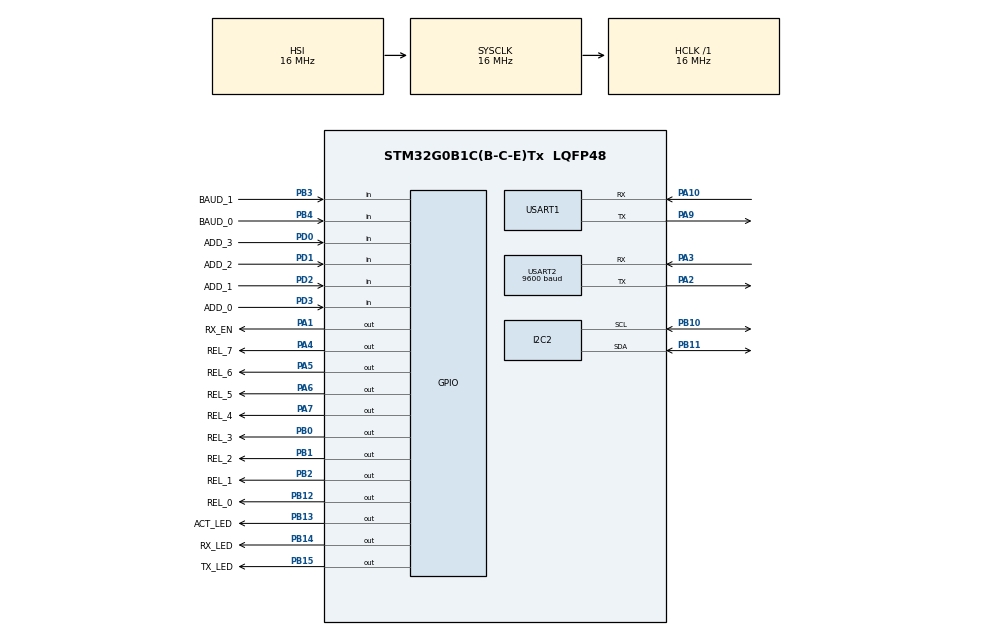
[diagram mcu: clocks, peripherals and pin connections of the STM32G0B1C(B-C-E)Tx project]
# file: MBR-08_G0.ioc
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I2C2.Timing=0x00503D58
IWDG.Prescaler=IWDG_PRESCALER_256
IWDG.Reload=312
Mcu.Family=STM32G0
Mcu.Name=STM32G0B1C(B-C-E)Tx
Mcu.Package=LQFP48
NVIC.TIM2_IRQn=true\:0\:0\:false\:false\:true\:true\:true\:true
NVIC.USART2_LPUART2_IRQn=true\:0\:0\:false\:false\:true\:true\:true\:true
PA1.GPIO_Label=RX_EN
PA1.Signal=GPIO_Output
PA10\ [PA12].Mode=Asynchronous
PA10\ [PA12].Signal=USART1_RX
PA13.Mode=Serial_Wire
PA13.Signal=SYS_SWDIO
PA14-BOOT0.Mode=Serial_Wire
PA14-BOOT0.Signal=SYS_SWCLK
PA2.Mode=Asynchronous
PA2.Signal=USART2_TX
PA3.Mode=Asynchronous
PA3.Signal=USART2_RX
PA4.GPIO_Label=REL_7
PA4.Signal=GPIO_Output
PA5.GPIO_Label=REL_6
PA5.Signal=GPIO_Output
PA6.GPIO_Label=REL_5
PA6.Signal=GPIO_Output
PA7.GPIO_Label=REL_4
PA7.Signal=GPIO_Output
PA9\ [PA11].Mode=Asynchronous
PA9\ [PA11].Signal=USART1_TX
PB0.GPIO_Label=REL_3
PB0.Signal=GPIO_Output
PB1.GPIO_Label=REL_2
PB1.Signal=GPIO_Output
PB10.Mode=I2C
PB10.Signal=I2C2_SCL
PB11.Mode=I2C
PB11.Signal=I2C2_SDA
PB12.GPIO_Label=REL_0
PB12.Signal=GPIO_Output
PB13.GPIO_Label=ACT_LED
PB13.Signal=GPIO_Output
PB14.GPIO_Label=RX_LED
PB14.Signal=GPIO_Output
PB15.GPIO_Label=TX_LED
PB15.Signal=GPIO_Output
PB2.GPIO_Label=REL_1
PB2.Signal=GPIO_Output
PB3.GPIO_Label=BAUD_1
PB3.Signal=GPIO_Input
PB4.GPIO_Label=BAUD_0
PB4.Signal=GPIO_Input
PD0.GPIO_Label=ADD_3
PD0.Signal=GPIO_Input
PD1.GPIO_Label=ADD_2
PD1.Signal=GPIO_Input
PD2.GPIO_Label=ADD_1
PD2.Signal=GPIO_Input
PD3.GPIO_Label=ADD_0
PD3.Signal=GPIO_Input
ProjectManager.HeapSize=0x200
ProjectManager.StackSize=0x400
ProjectManager.TargetToolchain=STM32CubeIDE
RCC.AHBFreq_Value=16000000
RCC.CortexFreq_Value=16000000
RCC.EXTERNAL_CLOCK_VALUE=48000
RCC.HCLKFreq_Value=16000000
RCC.HSE_VALUE=12000000
RCC.HSI48_VALUE=48000000
RCC.HSI_VALUE=16000000
RCC.LSE_VALUE=32768
RCC.SYSCLKFreq_VALUE=16000000
RCC.USBFreq_Value=48000000
RCC.VCOOutputFreq_Value=128000000
USART1.VirtualMode-Asynchronous=VM_ASYNC
USART2.BaudRate=9600
USART2.VirtualMode-Asynchronous=VM_ASYNC
VP_IWDG_VS_IWDG.Mode=IWDG_Activate
VP_SYS_VS_DBSignals.Mode=DisableDeadBatterySignals
VP_SYS_VS_PINREMAP.Mode=PINREMAP
VP_SYS_VS_PINREMAP_10_12.Mode=PINREMAP_10_12
VP_TIM2_VS_ClockSourceINT.Mode=Internal
board=custom

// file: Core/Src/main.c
/* USER CODE BEGIN Header */
/**
  ******************************************************************************
  * @file           : main.c
  * @brief          : Main program body
  ******************************************************************************
  * @attention
  *
  * Copyright (c) 2026 STMicroelectronics.
  * All rights reserved.
  *
  * This software is licensed under terms that can be found in the LICENSE file
  * in the root directory of this software component.
  * If no LICENSE file comes with this software, it is provided AS-IS.
  *
  ******************************************************************************
  */
/* USER CODE END Header */
#include "main.h"

/* USER CODE BEGIN Includes */
#include <stdbool.h>
#include "scheduler.h"
#include "modbus_slave.h"
/* USER CODE END Includes */

I2C_HandleTypeDef hi2c2;

IWDG_HandleTypeDef hiwdg;

TIM_HandleTypeDef htim2;

UART_HandleTypeDef huart1;
UART_HandleTypeDef huart2;

/* USER CODE BEGIN PV */

/* struct that holds all relay control registers */
extern Regs_t regsRelCon;

/* flag to indicate new data reception */
bool bNewData = true;
/* USER CODE END PV */

void SystemClock_Config(void);
static void MX_GPIO_Init(void);
static void MX_I2C2_Init(void);
static void MX_USART1_UART_Init(void);
static void MX_USART2_UART_Init(void);
static void MX_IWDG_Init(void);
static void MX_TIM2_Init(void);
/* USER CODE BEGIN PFP */

static void Task_RelayUpdate(void);
static void Task_ActLED(void);
/* USER CODE END PFP */

int main(void)
{

  /* MCU Configuration--------------------------------------------------------*/

  /* Reset of all peripherals, Initializes the Flash interface and the Systick. */
  HAL_Init();

  /* Configure the system clock */
  SystemClock_Config();

  /* Initialize all configured peripherals */
  MX_GPIO_Init();
  MX_I2C2_Init();
  MX_USART1_UART_Init();
  MX_USART2_UART_Init();
  MX_IWDG_Init();
  MX_TIM2_Init();
  /* USER CODE BEGIN 2 */
  Scheduler_Init();
  Modbus_Init();

  /* Turn TX led off */
  HAL_GPIO_WritePin(TX_LED_GPIO_Port, TX_LED_Pin, GPIO_PIN_SET);

  /* Turn RX led off */
  HAL_GPIO_WritePin(RX_LED_GPIO_Port, RX_LED_Pin, GPIO_PIN_SET);

  /* Note: Modbus has no tasks in the scheduler because it's all run through interrupts */
  Scheduler_AddTask(Task_RelayUpdate,     5U,   50U);  /* every 5ms,  stuck if >50ms  */
  Scheduler_AddTask(Task_ActLED,  500U,    0U);  /* every 500ms, not wdog-guarded */

  uint8_t msg[] = "Start scheduler\r\n";
  HAL_UART_Transmit(&huart1, msg, sizeof(msg) - 1, HAL_MAX_DELAY);
  /* USER CODE END 2 */

  /* Infinite loop */
  /* USER CODE BEGIN WHILE */
  while (1)
  {
	  Scheduler_Run();
    /* USER CODE END WHILE */

  }
}

void SystemClock_Config(void)
{
  RCC_OscInitTypeDef RCC_OscInitStruct = {0};
  RCC_ClkInitTypeDef RCC_ClkInitStruct = {0};

  /** Configure the main internal regulator output voltage
  */
  HAL_PWREx_ControlVoltageScaling(PWR_REGULATOR_VOLTAGE_SCALE1);

  /** Initializes the RCC Oscillators according to the specified parameters
  * in the RCC_OscInitTypeDef structure.
  */
  RCC_OscInitStruct.OscillatorType = RCC_OSCILLATORTYPE_HSI|RCC_OSCILLATORTYPE_LSI;
  RCC_OscInitStruct.HSIState = RCC_HSI_ON;
  RCC_OscInitStruct.HSIDiv = RCC_HSI_DIV1;
  RCC_OscInitStruct.HSICalibrationValue = RCC_HSICALIBRATION_DEFAULT;
  RCC_OscInitStruct.LSIState = RCC_LSI_ON;
  RCC_OscInitStruct.PLL.PLLState = RCC_PLL_NONE;
  if (HAL_RCC_OscConfig(&RCC_OscInitStruct) != HAL_OK)
  {
    Error_Handler();
  }

  /** Initializes the CPU, AHB and APB buses clocks
  */
  RCC_ClkInitStruct.ClockType = RCC_CLOCKTYPE_HCLK|RCC_CLOCKTYPE_SYSCLK
                              |RCC_CLOCKTYPE_PCLK1;
  RCC_ClkInitStruct.SYSCLKSource = RCC_SYSCLKSOURCE_HSI;
  RCC_ClkInitStruct.AHBCLKDivider = RCC_SYSCLK_DIV1;
  RCC_ClkInitStruct.APB1CLKDivider = RCC_HCLK_DIV1;

  if (HAL_RCC_ClockConfig(&RCC_ClkInitStruct, FLASH_LATENCY_0) != HAL_OK)
  {
    Error_Handler();
  }
}

static void MX_I2C2_Init(void)
{

  hi2c2.Instance = I2C2;
  hi2c2.Init.Timing = 0x00503D58;
  hi2c2.Init.OwnAddress1 = 0;
  hi2c2.Init.AddressingMode = I2C_ADDRESSINGMODE_7BIT;
  hi2c2.Init.DualAddressMode = I2C_DUALADDRESS_DISABLE;
  hi2c2.Init.OwnAddress2 = 0;
  hi2c2.Init.OwnAddress2Masks = I2C_OA2_NOMASK;
  hi2c2.Init.GeneralCallMode = I2C_GENERALCALL_DISABLE;
  hi2c2.Init.NoStretchMode = I2C_NOSTRETCH_DISABLE;
  if (HAL_I2C_Init(&hi2c2) != HAL_OK)
  {
    Error_Handler();
  }

  /** Configure Analogue filter
  */
  if (HAL_I2CEx_ConfigAnalogFilter(&hi2c2, I2C_ANALOGFILTER_ENABLE) != HAL_OK)
  {
    Error_Handler();
  }

  /** Configure Digital filter
  */
  if (HAL_I2CEx_ConfigDigitalFilter(&hi2c2, 0) != HAL_OK)
  {
    Error_Handler();
  }

}

static void MX_IWDG_Init(void)
{

  hiwdg.Instance = IWDG;
  hiwdg.Init.Prescaler = IWDG_PRESCALER_256;
  hiwdg.Init.Window = 4095;
  hiwdg.Init.Reload = 312;
  if (HAL_IWDG_Init(&hiwdg) != HAL_OK)
  {
    Error_Handler();
  }

}

static void MX_TIM2_Init(void)
{

  TIM_ClockConfigTypeDef sClockSourceConfig = {0};
  TIM_MasterConfigTypeDef sMasterConfig = {0};

  htim2.Instance = TIM2;
  htim2.Init.Prescaler = 0;
  htim2.Init.CounterMode = TIM_COUNTERMODE_UP;
  htim2.Init.Period = 4294967295;
  htim2.Init.ClockDivision = TIM_CLOCKDIVISION_DIV1;
  htim2.Init.AutoReloadPreload = TIM_AUTORELOAD_PRELOAD_DISABLE;
  if (HAL_TIM_Base_Init(&htim2) != HAL_OK)
  {
    Error_Handler();
  }
  sClockSourceConfig.ClockSource = TIM_CLOCKSOURCE_INTERNAL;
  if (HAL_TIM_ConfigClockSource(&htim2, &sClockSourceConfig) != HAL_OK)
  {
    Error_Handler();
  }
  sMasterConfig.MasterOutputTrigger = TIM_TRGO_RESET;
  sMasterConfig.MasterSlaveMode = TIM_MASTERSLAVEMODE_DISABLE;
  if (HAL_TIMEx_MasterConfigSynchronization(&htim2, &sMasterConfig) != HAL_OK)
  {
    Error_Handler();
  }

}

static void MX_USART1_UART_Init(void)
{

  huart1.Instance = USART1;
  huart1.Init.BaudRate = 115200;
  huart1.Init.WordLength = UART_WORDLENGTH_8B;
  huart1.Init.StopBits = UART_STOPBITS_1;
  huart1.Init.Parity = UART_PARITY_NONE;
  huart1.Init.Mode = UART_MODE_TX_RX;
  huart1.Init.HwFlowCtl = UART_HWCONTROL_NONE;
  huart1.Init.OverSampling = UART_OVERSAMPLING_16;
  huart1.Init.OneBitSampling = UART_ONE_BIT_SAMPLE_DISABLE;
  huart1.Init.ClockPrescaler = UART_PRESCALER_DIV1;
  huart1.AdvancedInit.AdvFeatureInit = UART_ADVFEATURE_NO_INIT;
  if (HAL_UART_Init(&huart1) != HAL_OK)
  {
    Error_Handler();
  }
  if (HAL_UARTEx_SetTxFifoThreshold(&huart1, UART_TXFIFO_THRESHOLD_1_8) != HAL_OK)
  {
    Error_Handler();
  }
  if (HAL_UARTEx_SetRxFifoThreshold(&huart1, UART_RXFIFO_THRESHOLD_1_8) != HAL_OK)
  {
    Error_Handler();
  }
  if (HAL_UARTEx_DisableFifoMode(&huart1) != HAL_OK)
  {
    Error_Handler();
  }

}

static void MX_USART2_UART_Init(void)
{

  huart2.Instance = USART2;
  huart2.Init.BaudRate = 9600;
  huart2.Init.WordLength = UART_WORDLENGTH_8B;
  huart2.Init.StopBits = UART_STOPBITS_1;
  huart2.Init.Parity = UART_PARITY_NONE;
  huart2.Init.Mode = UART_MODE_TX_RX;
  huart2.Init.HwFlowCtl = UART_HWCONTROL_NONE;
  huart2.Init.OverSampling = UART_OVERSAMPLING_16;
  huart2.Init.OneBitSampling = UART_ONE_BIT_SAMPLE_DISABLE;
  huart2.Init.ClockPrescaler = UART_PRESCALER_DIV1;
  huart2.AdvancedInit.AdvFeatureInit = UART_ADVFEATURE_NO_INIT;
  if (HAL_UART_Init(&huart2) != HAL_OK)
  {
    Error_Handler();
  }
  if (HAL_UARTEx_SetTxFifoThreshold(&huart2, UART_TXFIFO_THRESHOLD_1_8) != HAL_OK)
  {
    Error_Handler();
  }
  if (HAL_UARTEx_SetRxFifoThreshold(&huart2, UART_RXFIFO_THRESHOLD_1_8) != HAL_OK)
  {
    Error_Handler();
  }
  if (HAL_UARTEx_DisableFifoMode(&huart2) != HAL_OK)
  {
    Error_Handler();
  }

}

static void MX_GPIO_Init(void)
{
  GPIO_InitTypeDef GPIO_InitStruct = {0};

  /* GPIO Ports Clock Enable */
  __HAL_RCC_GPIOA_CLK_ENABLE();
  __HAL_RCC_GPIOB_CLK_ENABLE();
  __HAL_RCC_GPIOD_CLK_ENABLE();

  /*Configure GPIO pin Output Level */
  HAL_GPIO_WritePin(GPIOA, RX_EN_Pin|REL_7_Pin|REL_6_Pin|REL_5_Pin
                          |REL_4_Pin, GPIO_PIN_RESET);

  /*Configure GPIO pin Output Level */
  HAL_GPIO_WritePin(GPIOB, REL_3_Pin|REL_2_Pin|REL_1_Pin|REL_0_Pin
                          |ACT_LED_Pin|RX_LED_Pin|TX_LED_Pin, GPIO_PIN_RESET);

  /*Configure GPIO pins : RX_EN_Pin REL_7_Pin REL_6_Pin REL_5_Pin
                           REL_4_Pin */
  GPIO_InitStruct.Pin = RX_EN_Pin|REL_7_Pin|REL_6_Pin|REL_5_Pin
                          |REL_4_Pin;
  GPIO_InitStruct.Mode = GPIO_MODE_OUTPUT_PP;
  GPIO_InitStruct.Pull = GPIO_NOPULL;
  GPIO_InitStruct.Speed = GPIO_SPEED_FREQ_LOW;
  HAL_GPIO_Init(GPIOA, &GPIO_InitStruct);

  /*Configure GPIO pins : REL_3_Pin REL_2_Pin REL_1_Pin REL_0_Pin
                           ACT_LED_Pin RX_LED_Pin TX_LED_Pin */
  GPIO_InitStruct.Pin = REL_3_Pin|REL_2_Pin|REL_1_Pin|REL_0_Pin
                          |ACT_LED_Pin|RX_LED_Pin|TX_LED_Pin;
  GPIO_InitStruct.Mode = GPIO_MODE_OUTPUT_PP;
  GPIO_InitStruct.Pull = GPIO_NOPULL;
  GPIO_InitStruct.Speed = GPIO_SPEED_FREQ_LOW;
  HAL_GPIO_Init(GPIOB, &GPIO_InitStruct);

  /*Configure GPIO pins : ADD_3_Pin ADD_2_Pin ADD_1_Pin ADD_0_Pin */
  GPIO_InitStruct.Pin = ADD_3_Pin|ADD_2_Pin|ADD_1_Pin|ADD_0_Pin;
  GPIO_InitStruct.Mode = GPIO_MODE_INPUT;
  GPIO_InitStruct.Pull = GPIO_NOPULL;
  HAL_GPIO_Init(GPIOD, &GPIO_InitStruct);

  /*Configure GPIO pins : BAUD_1_Pin BAUD_0_Pin */
  GPIO_InitStruct.Pin = BAUD_1_Pin|BAUD_0_Pin;
  GPIO_InitStruct.Mode = GPIO_MODE_INPUT;
  GPIO_InitStruct.Pull = GPIO_NOPULL;
  HAL_GPIO_Init(GPIOB, &GPIO_InitStruct);

}

/* USER CODE BEGIN 4 */

/* Mirrors g_relay_coils bitmask to 8 GPIO relay outputs */
static void Task_RelayUpdate(void)
{
	if(bNewData)
	{
		for (uint8_t ch = 0U; ch < MB_NUM_COILS; ch++) {
			GPIO_PinState state = (regsRelCon.pRegs[ch]->u16Data == cu16_RELAY_ON) ? GPIO_PIN_SET : GPIO_PIN_RESET;

			switch (ch) {
				case 0: HAL_GPIO_WritePin(REL_0_GPIO_Port, REL_0_Pin, state); break;
				case 1: HAL_GPIO_WritePin(REL_1_GPIO_Port, REL_1_Pin, state); break;
				case 2: HAL_GPIO_WritePin(REL_2_GPIO_Port, REL_2_Pin, state); break;
				case 3: HAL_GPIO_WritePin(REL_3_GPIO_Port, REL_3_Pin, state); break;
				case 4: HAL_GPIO_WritePin(REL_4_GPIO_Port, REL_4_Pin, state); break;
				case 5: HAL_GPIO_WritePin(REL_5_GPIO_Port, REL_5_Pin, state); break;
				case 6: HAL_GPIO_WritePin(REL_6_GPIO_Port, REL_6_Pin, state); break;
				case 7: HAL_GPIO_WritePin(REL_7_GPIO_Port, REL_7_Pin, state); break;
				default: break;
			}
		}
	}
	bNewData = false;

}

static void Task_ActLED(void)
{
    HAL_GPIO_TogglePin(ACT_LED_GPIO_Port, ACT_LED_Pin);
}

/**
 * @brief UART RX complete — fires for every received byte.
 */
void HAL_UART_RxCpltCallback(UART_HandleTypeDef *huart)
{
    if (huart->Instance == USART2)
    {
        /* s_rxBuf[s_rxLen-1] already written by HAL into the pointer we gave.
           We need to extract the last byte — simplest: keep a shadow byte.   */
        extern uint8_t g_lastRxByte;   /* defined in modbus_slave.c below    */
        Modbus_RxByteCallback(g_lastRxByte);
    }
}

/**
 * @brief TIM2 period elapsed — 3.5T silence detected.
 */
void HAL_TIM_PeriodElapsedCallback(TIM_HandleTypeDef *htim)
{
	if (htim->Instance == TIM2)
	{
		ModbusTimer_FrameDoneCallback();
	}
}

/* USER CODE END 4 */

void Error_Handler(void)
{
  __disable_irq();
  while (1)
  {
  }
}
